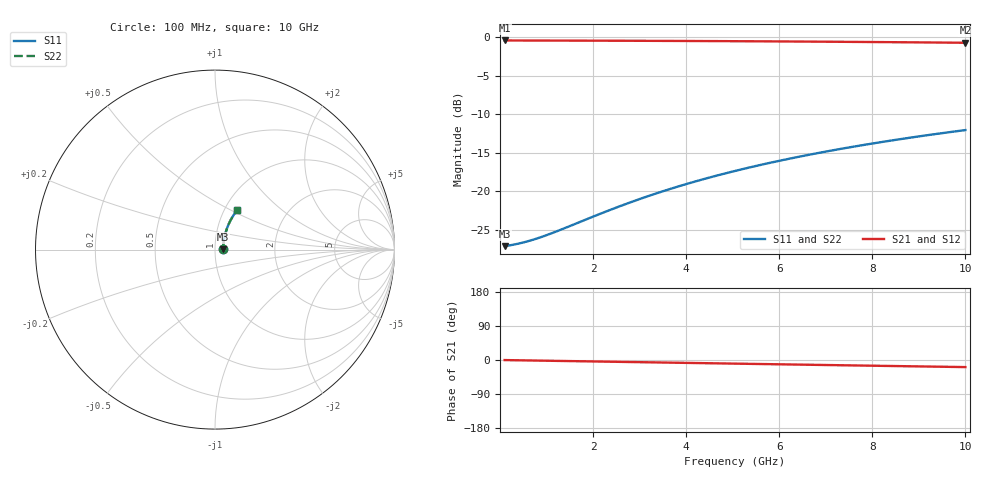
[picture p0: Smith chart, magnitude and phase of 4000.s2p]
# Hz S RI R 50.00
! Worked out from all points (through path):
!   100 points, 100 MHz to 10 GHz, reference 50 ohm
!   highest |S21| = -0.39 dB at 100 MHz (marker M1); lowest = -0.7 dB at 10 GHz (marker M2)
!   group delay of S21, straight-line fit = 5.2 ps
!   lowest |S11| = -27.1 dB at 100 MHz (marker M3), VSWR 1.09, Z = 54.6 + j0.264 ohm
!   |S11| at or under -10 dB: start of sweep to end of sweep
!   |S22| runs from -27.1 to -12.0 dB; largest |S21 - S12| = 0
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1e8  0.044 0.00241  0.956 -0.00319  0.956 -0.00319  0.044 0.00241
4e8  0.0447 0.00963  0.9552 -0.0127  0.9552 -0.0127  0.0447 0.00963
6e8  0.0452 0.0144  0.9548 -0.0191  0.9548 -0.0191  0.0452 0.0144
8e8  0.0456 0.0192  0.9544 -0.0254  0.9544 -0.0254  0.0456 0.0192
1e9  0.0461 0.024  0.9539 -0.0318  0.9539 -0.0318  0.0461 0.024
1.2e9  0.0466 0.0288  0.9534 -0.0381  0.9534 -0.0381  0.0466 0.0288
1.8e9  0.0483 0.0431  0.9515 -0.057  0.9515 -0.057  0.0483 0.0431
2.2e9  0.0498 0.0525  0.95 -0.0696  0.95 -0.0696  0.0498 0.0525
2.6e9  0.0515 0.062  0.9483 -0.0821  0.9483 -0.0821  0.0515 0.062
3e9  0.0534 0.0713  0.9463 -0.0946  0.9463 -0.0946  0.0534 0.0713
3.4e9  0.0556 0.0806  0.9441 -0.107  0.9441 -0.107  0.0556 0.0806
3.8e9  0.0579 0.0898  0.9416 -0.1193  0.9416 -0.1193  0.0579 0.0898
4.2e9  0.0606 0.099  0.9389 -0.1316  0.9389 -0.1316  0.0606 0.099
4.6e9  0.0634 0.108  0.9359 -0.1437  0.9359 -0.1437  0.0634 0.108
5.1e9  0.0673 0.1192  0.9319 -0.1588  0.9319 -0.1588  0.0673 0.1192
5.5e9  0.0706 0.128  0.9284 -0.1708  0.9284 -0.1708  0.0706 0.128
5.9e9  0.0742 0.1368  0.9247 -0.1826  0.9247 -0.1826  0.0742 0.1368
6.7e9  0.0819 0.1538  0.9166 -0.2059  0.9166 -0.2059  0.0819 0.1538
7.5e9  0.0905 0.1704  0.9077 -0.2287  0.9077 -0.2287  0.0905 0.1704
8.4e9  0.1011 0.1883  0.8967 -0.2537  0.8967 -0.2537  0.1011 0.1883
9.2e9  0.1113 0.2037  0.886 -0.2753  0.886 -0.2753  0.1113 0.2037
1e10  0.1222 0.2183  0.8746 -0.2963  0.8746 -0.2963  0.1222 0.2183
